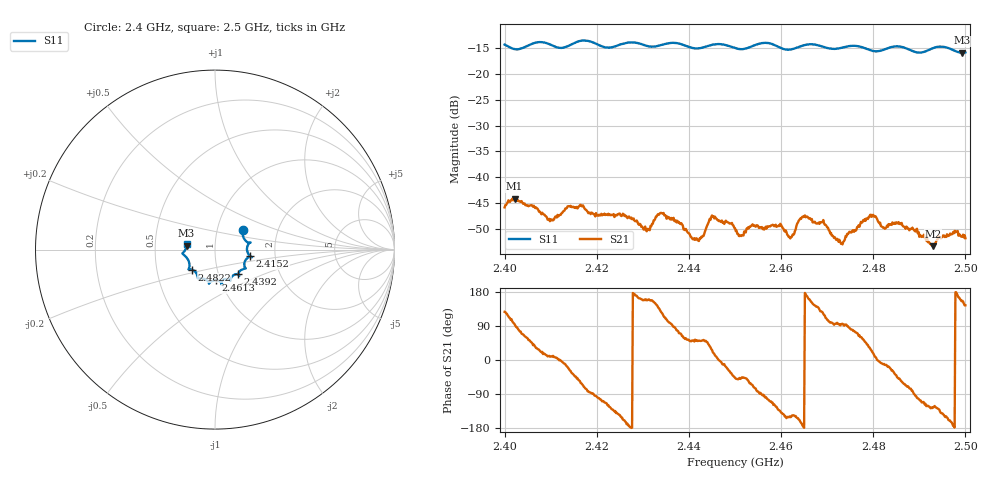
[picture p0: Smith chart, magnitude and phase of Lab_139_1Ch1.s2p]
# Hz S RI R 50
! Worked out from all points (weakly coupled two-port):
!   601 points, 2.4 GHz to 2.5 GHz, reference 50 ohm
!   highest |S21| = -44.12 dB at 2.4022 GHz (marker M1); lowest = -53.3 dB at 2.493 GHz (marker M2)
!   lowest |S11| = -15.9 dB at 2.4993 GHz (marker M3), VSWR 1.38, Z = 36.3 + j1.61 ohm
!   |S11| at or under -10 dB: start of sweep to end of sweep
!   S12 and S22 are empty: the file has one direction only
!   S11 on the Smith chart (normalised r, x): 2.4 GHz: 1.33, +0.31; 2.4152 GHz: 1.48, -0.11; 2.4392 GHz: 1.24, -0.35; 2.4613 GHz: 0.96, -0.34; 2.4822 GHz: 0.76, -0.17; 2.5 GHz: 0.73, +0.05
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2.4e9  0.1557 0.1116  -0.00309 0.00407  0 0  0 0
2.402167e9  0.1559 0.0756  -0.000466 0.0062  0 0  0 0
2.41e9  0.1881 0.0324  0.00387 0.000631  0 0  0 0
2.415167e9  0.1953 -0.0366  0.00379 -0.00335  0 0  0 0
2.416667e9  0.2047 -0.0427  0.00249 -0.00464  0 0  0 0
2.430667e9  0.1508 -0.1112  -0.00291 0.00105  0 0  0 0
2.433333e9  0.1318 -0.1318  -0.0033 0.00292  0 0  0 0
2.439167e9  0.1274 -0.1376  0.00175 0.00253  0 0  0 0
2.442333e9  0.0962 -0.1484  0.00162 0.00199  0 0  0 0
2.445333e9  0.0846 -0.172  0.00398 0.00132  0 0  0 0
2.45e9  0.0687 -0.1637  0.00219 -0.00236  0 0  0 0
2.459667e9  0.0282 -0.178  -0.00231 -0.00246  0 0  0 0
2.461333e9  0.00728 -0.1709  -0.00242 -0.00137  0 0  0 0
2.464667e9  -0.0311 -0.1846  -0.00413 -0.000491  0 0  0 0
2.466667e9  -0.0334 -0.1901  -0.00348 0.00186  0 0  0 0
2.473e9  -0.0774 -0.1601  -0.000151 0.00227  0 0  0 0
2.4795e9  -0.1035 -0.1324  0.00388 0.00196  0 0  0 0
2.482167e9  -0.1283 -0.1119  0.00319 -0.000626  0 0  0 0
2.483333e9  -0.1397 -0.1103  0.00337 -0.00105  0 0  0 0
2.493e9  -0.1751 -0.0272  -0.00122 -0.00177  0 0  0 0
2.499333e9  -0.1583 0.0217  -0.00246 0.00107  0 0  0 0
2.5e9  -0.1576 0.0337  -0.00209 0.0015  0 0  0 0
